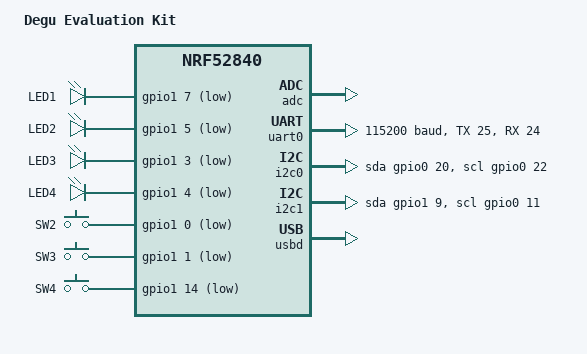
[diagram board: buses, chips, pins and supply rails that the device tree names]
/*
 * Copyright (c) 2019 Atmark Techno, Inc.
 *
 * SPDX-License-Identifier: Apache-2.0
 */

/dts-v1/;
#include <nordic/nrf52840_qiaa.dtsi>

/ {
	model = "Degu Evaluation Kit";
	compatible = "nordic,pca10056-dk";

	chosen {
		zephyr,sram = &sram0;
		zephyr,flash = &flash0;
		zephyr,code-partition = &slot0_partition;
	};

	leds {
		compatible = "gpio-leds";
		led0: led_0 {
			gpios = <&gpio1 7 GPIO_ACTIVE_LOW>;
			label = "LED1";
		};
		led1: led_1 {
			gpios = <&gpio1 5 GPIO_ACTIVE_LOW>;
			label = "LED2";
		};
		led2: led_2 {
			gpios = <&gpio1 3 GPIO_ACTIVE_LOW>;
			label = "LED3";
		};
		led3: led_3 {
			gpios = <&gpio1 4 GPIO_ACTIVE_LOW>;
			label = "LED4";
		};
	};

	buttons {
		compatible = "gpio-keys";
		button0: button_0 {
			gpios = <&gpio1 0 (GPIO_PULL_UP | GPIO_ACTIVE_LOW)>;
			label = "SW2";
		};
		button1: button_1 {
			gpios = <&gpio1 1 (GPIO_PULL_UP | GPIO_ACTIVE_LOW)>;
			label = "SW3";
		};
		button2: button_2 {
			gpios = <&gpio1 14 (GPIO_PULL_UP | GPIO_ACTIVE_LOW)>;
			label = "SW4";
		};
	};

	/* These aliases are provided for compatibility with samples */
	aliases {
		led0 = &led0;
		led1 = &led1;
		led2 = &led2;
		led3 = &led3;
		sw0 = &button0;
		sw1 = &button1;
		sw2 = &button2;
	};
};

&adc {
	status ="okay";
};

&gpiote {
	status ="okay";
};

&gpio0 {
	status ="okay";
};

&gpio1 {
	status ="okay";
};

&uart0 {
	compatible = "nordic,nrf-uart";
	current-speed = <115200>;
	status = "okay";
	tx-pin = <25>;
	rx-pin = <24>;
	rts-pin = <23>;
	cts-pin = <21>;
};

&i2c0 {
	compatible = "nordic,nrf-twim";
	status = "okay";
	sda-gpios = <&gpio0 20 0>;
	scl-gpios = <&gpio0 22 0>;
};

&i2c1 {
	compatible = "nordic,nrf-twim";
	status = "okay";
	sda-gpios = <&gpio1 9 0>;
	scl-gpios = <&gpio0 11 0>;
};

&flash0 {
	/*
	 * For more information, see:
	 * https://docs.zephyrproject.org/latest/reference/devicetree/index.html#fixed-flash-partitions
	 */
	partitions {
		compatible = "fixed-partitions";
		#address-cells = <1>;
		#size-cells = <1>;

		boot_partition: partition@0 {
			label = "mcuboot";
			reg = <0x000000000 0x00014000>;
		};
		slot0_partition: partition@14000 {
			label = "image-0";
			reg = <0x000014000 0x0006e000>;
		};
		slot1_partition: partition@82000 {
			label = "image-1";
			reg = <0x000082000 0x0006e000>;
		};
		scratch_partition: partition@f0000 {
			label = "image-scratch";
			reg = <0x0000f0000 0x00008000>;
		};
		storage_partition: partition@f8000 {
			label = "storage";
			reg = <0x0000f8000 0x00008000>;
		};
	};
};

&usbd {
	compatible = "nordic,nrf-usbd";
	status = "okay";
};
